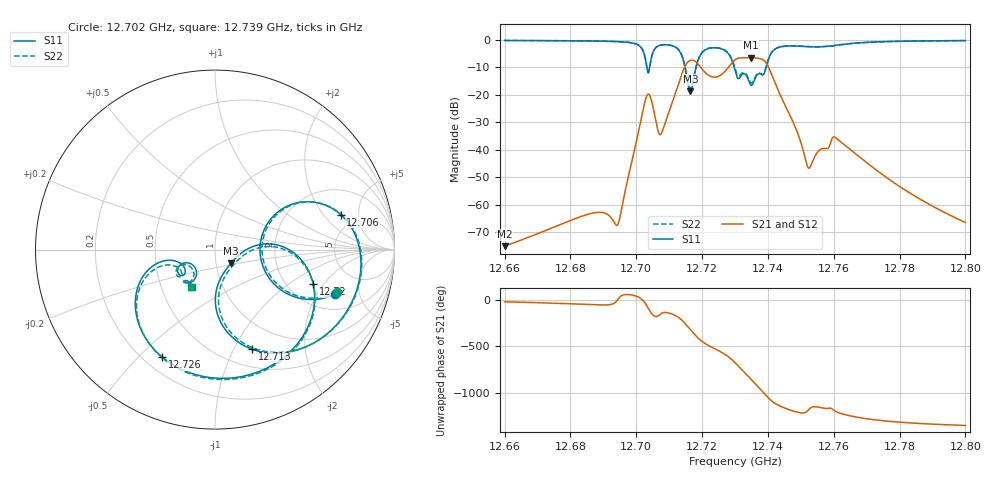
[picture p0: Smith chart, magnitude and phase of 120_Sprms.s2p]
! TOUCHSTONE file generated by CST MICROWAVE STUDIO
! Date and time: Wed Jul 31 16:50:36 2024
! Project name: WaveGuide_BPF-Ver4.1_U-shape_Ku_T3_C4_CWA_2.cst
! Parameters = {cavity_h=16; cavity_l0=10; cavity_l1=15.1685; cavity_l2=16.8094; cavity_l3=17.1244; cavity_l4=17.2872; cavity_l5=17.1542; cavity_l6=17.5567; cavity_r=2.5; cavity_screw_l=0.5; cavity_screw_r=1.5; cavity_w=8; iris_h00=0; iris_h01=8.8395; iris_h112=0; iris_h12=5.608; iris_h211=3.6561; i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
! Header version: 2018
! Port assignment regex: !\s*Touchstone port\s*([0-9]+)\s*=\s*(CST MWS port|CST DS port)\s*([0-9]+|Zmin|Zmax)\s*\(\"(.*)\"\)(\s*mode\s*([0-9]+))?.*
! Touchstone port assignment:
! Touchstone port 1 = CST MWS port 1 ("")
! Touchstone port 2 = CST MWS port 2 ("")
# GHz S RI R 50
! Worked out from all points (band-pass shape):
!   5001 points, 12.66 GHz to 12.8 GHz, reference 50 ohm
!   highest |S21| = -6.37 dB at 12.735 GHz (marker M1); lowest = -75.1 dB at 12.66 GHz (marker M2)
!   |S21| within 3 dB of the highest: 12.71489 GHz to 12.71922 GHz (4.331 MHz wide, 0.0341 % of centre); 12.72837 GHz to 12.73996 GHz (11.59 MHz wide, 0.091 % of centre)
!   lowest |S11| = -18.6 dB at 12.716 GHz (marker M3), VSWR 1.27, Z = 59.1 - j9.04 ohm
!   |S11| at or under -10 dB: 12.70322 GHz to 12.70405 GHz (835 kHz wide, 0.00657 % of centre); 12.71483 GHz to 12.71817 GHz (3.347 MHz wide, 0.0263 % of centre); 12.72977 GHz to 12.73942 GHz (9.648 MHz wide, 0.0758 % of centre)
!   |S22| runs from -17.5 to -0.1 dB; largest |S21 - S12| = 1e-09
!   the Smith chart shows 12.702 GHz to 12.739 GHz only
!   S11 on the Smith chart (normalised r, x): 12.702 GHz: 2.86, -2.90; 12.706 GHz: 3.68, +3.05; 12.713 GHz: 0.69, -1.19; 12.72 GHz: 2.74, -1.59; 12.726 GHz: 0.27, -0.59; 12.739 GHz: 0.71, -0.31
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12.66  0.2906 0.9388  0.000164 -6.26e-05  0.000164 -6.26e-05  0.294 0.9379
12.68335  0.6697 0.6952  0.000415 -0.000453  0.000415 -0.000453  0.6705 0.6949
12.69438  0.8738 0.3329  0.000434 2.76e-05  0.000434 2.76e-05  0.8733 0.3368
12.70158  0.669 -0.2493  0.0383 0.00572  0.0383 0.00572  0.6807 -0.2386
12.70374  0.2526 0.0347  -0.0113 -0.103  -0.0113 -0.103  0.2633 0.0312
12.70595  0.6999 0.1952  -0.0336 -0.000234  -0.0336 -0.000234  0.7041 0.1958
12.70668  0.7743 0.0969  -0.0213 -0.00273  -0.0213 -0.00273  0.778 0.0991
12.7134  0.2073 -0.5554  -0.1812 0.0818  -0.1812 0.0818  0.2315 -0.5554
12.71645  0.0899 -0.0754  0.3372 0.2599  0.3372 0.2599  0.1055 -0.0816
12.71992  0.5471 -0.1922  0.0196 -0.3002  0.0196 -0.3002  0.5515 -0.2112
12.7265  -0.2957 -0.5975  -0.1985 0.1561  -0.1985 0.1561  -0.2803 -0.614
12.73  -0.275 -0.061  0.3198 0.297  0.3198 0.297  -0.2914 -0.0894
12.7319  -0.1764 -0.1427  0.4194 -0.2201  0.4194 -0.2201  -0.1918 -0.1498
12.73482  -0.1246 -0.0855  -0.3346 -0.3445  -0.3346 -0.3445  -0.1376 -0.0956
12.73879  -0.1283 -0.207  0.1108 0.4099  0.1108 0.4099  -0.1334 -0.2091
12.74134  -0.4687 -0.3946  0.2113 -0.059  0.2113 -0.059  -0.4714 -0.399
12.74515  -0.7369 0.2278  0.00268 -0.0659  0.00268 -0.0659  -0.7461 0.2116
12.75335  0.4693 0.5875  0.00124 -0.00557  0.00124 -0.00557  0.4339 0.6157
12.75764  0.7505 -0.1568  -0.000315 -0.0105  -0.000315 -0.0105  0.7546 -0.1149
12.76335  0.2079 -0.8165  -0.0112 -0.00474  -0.0112 -0.00474  0.2303 -0.8066
12.77668  -0.7765 -0.5286  -0.00191 0.00224  -0.00191 0.00224  -0.7742 -0.5308
12.8  -0.9661 0.1429  3.86e-05 0.000473  3.86e-05 0.000473  -0.9656 0.1459
